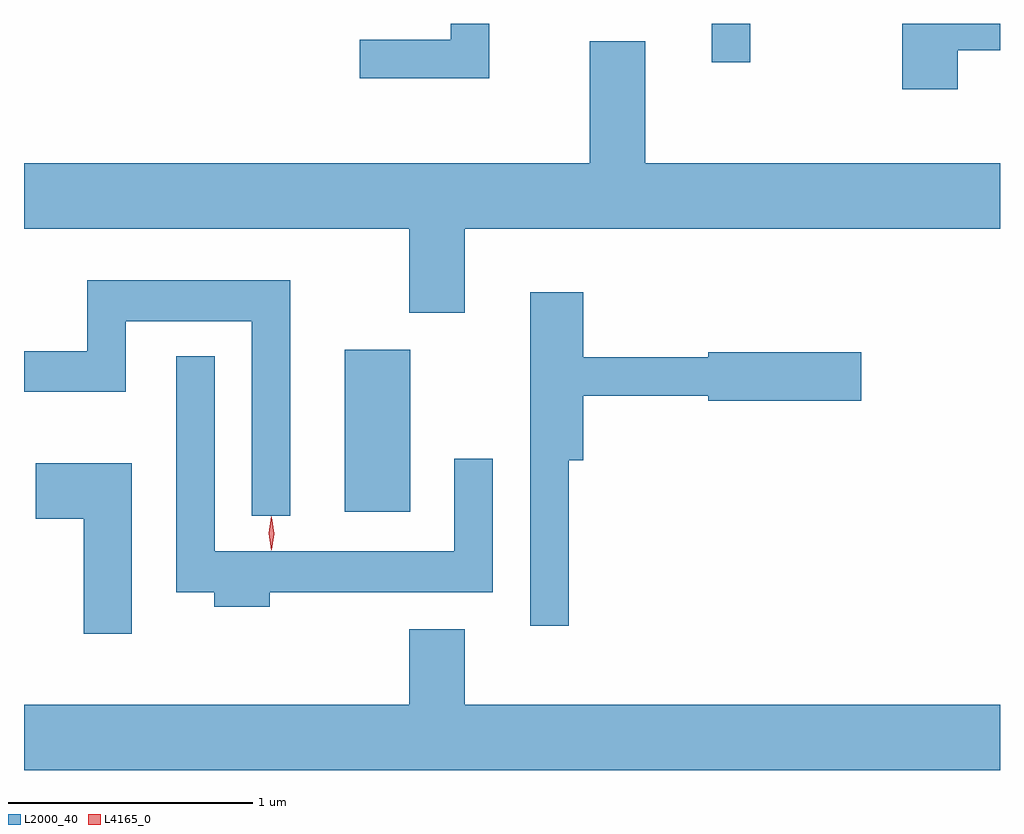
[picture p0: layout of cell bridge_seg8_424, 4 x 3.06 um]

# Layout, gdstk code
import gdstk
lib = gdstk.Library(unit=1e-6, precision=1e-09)
def R(c, l, rs):  # rectangles x0, y0, x1, y1
    for r in rs: c.add(gdstk.rectangle(r[:2], r[2:], *l))
def P(c, l, *ps):  # polygons
    for p in ps: c.add(gdstk.Polygon(p, *l))
L2000_40 = (2000, 40)
L4165_0 = (4165, 0)

bridge_seg8_424 = lib.new_cell('bridge_seg8_424')
R(bridge_seg8_424, L2000_40, [(876.816,1846.356,877.084,1847.019), (878.321,1848.198,878.479,1848.355)])
P(bridge_seg8_424, L2000_40, [(877.409,1848.355),(877.251,1848.355),(877.251,1848.289),(876.878,1848.289),(876.878,1848.131),(877.409,1848.131)],
  [(879.329,1848.246),(879.502,1848.246),(879.502,1848.355),(879.101,1848.355),(879.101,1848.086),(879.329,1848.086)],
  [(877.821,1848.284),(877.821,1847.784),(875.502,1847.784),(875.502,1847.516),(877.081,1847.516),(877.081,1847.171),(877.309,1847.171),(877.309,1847.516),(879.502,1847.516),(879.502,1847.784),(878.049,1847.784),(878.049,1848.284)],
  [(876.594,1847.304),(875.761,1847.304),(875.761,1847.014),(875.502,1847.014),(875.502,1846.846),(875.919,1846.846),(875.919,1847.136),(876.436,1847.136),(876.436,1846.338),(876.594,1846.338)],
  [(877.734,1846.566),(877.794,1846.566),(877.794,1846.831),(878.306,1846.831),(878.306,1846.811),(878.934,1846.811),(878.934,1847.009),(878.306,1847.009),(878.306,1846.989),(877.794,1846.989),(877.794,1847.254),(877.576,1847.254),(877.576,1845.888),(877.734,1845.888)],
  [(876.509,1846.026),(877.424,1846.026),(877.424,1846.573),(877.266,1846.573),(877.266,1846.194),(876.284,1846.194),(876.284,1846.993),(876.126,1846.993),(876.126,1846.026),(876.281,1846.026),(876.281,1845.966),(876.509,1845.966)],
  [(875.944,1846.554),(875.551,1846.554),(875.551,1846.326),(875.746,1846.326),(875.746,1845.856),(875.944,1845.856)],
  [(879.502,1845.564),(877.309,1845.564),(877.309,1845.874),(877.081,1845.874),(877.081,1845.564),(875.502,1845.564),(875.502,1845.296),(879.502,1845.296)])
P(bridge_seg8_424, L4165_0, [(876.515,1846.197),(876.506,1846.267),(876.515,1846.336),(876.516,1846.336),(876.516,1846.336),(876.526,1846.267),(876.516,1846.197),(876.516,1846.197)],
  [(876.518,1846.199),(876.517,1846.2),(876.508,1846.266),(876.517,1846.332),(876.518,1846.333),(876.518,1846.332),(876.528,1846.266),(876.518,1846.2)])

lib.write_gds('bridge_seg8_424.gds')
